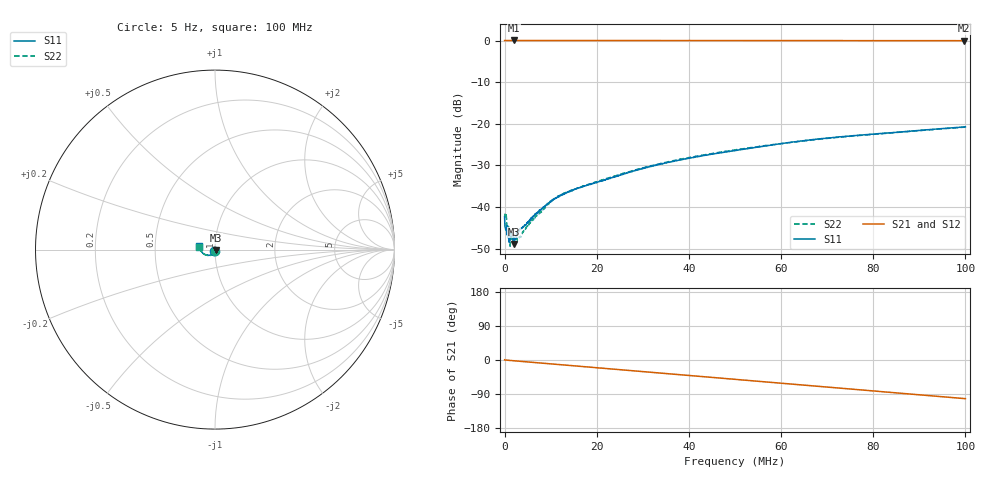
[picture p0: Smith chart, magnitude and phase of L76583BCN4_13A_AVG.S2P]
!Agilent Technologies,E5061B,MY49102235,A.02.00
!Date: Tue Jul 11 17:06:42 2023
!Data & Calibration Information:
!Freq	S11:SOLT2(ON)	S21:SOLT2(ON)	S12:SOLT2(ON)	S22:SOLT2(ON)
# Hz S RI R 50
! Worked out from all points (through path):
!   1600 points, 5 Hz to 100 MHz, reference 50 ohm
!   highest |S21| = 0.02 dB at 2.001 MHz (marker M1); lowest = 0.0 dB at 99.75 MHz (marker M2)
!   group delay of S21, straight-line fit = 2.83 ns
!   lowest |S11| = -48.8 dB at 1.939 MHz (marker M3), VSWR 1.01, Z = 50.3 - j0.19 ohm
!   |S11| at or under -10 dB: start of sweep to end of sweep
!   |S22| runs from -49.4 to -20.8 dB; largest |S21 - S12| = 0.0028
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5  -0.00511 -0.00561  1.002 0.00798  1.001 0.0102  -0.00143 -0.00756
437778.6  0.00519 -0.000507  1.001 -0.00541  1.001 -0.00603  0.00663 -0.00213
625395.8  0.00511 -0.000508  1.002 -0.0106  1.002 -0.0101  0.00611 -0.000845
1000630  0.00372 -0.000558  1.001 -0.0168  1.001 -0.016  0.00509 -0.00148
1500943  0.00431 -0.00217  1.001 -0.0255  1.001 -0.025  0.00297 -0.00334
1938717  0.00308 -0.00189  1.002 -0.0342  1.001 -0.0334  0.00339 -0.00165
2001256  0.00299 -0.00235  1.002 -0.0357  1.001 -0.035  0.00313 -0.00209
2376490  0.00328 -0.00246  1 -0.0422  1 -0.042  0.00394 -0.00212
3252037  0.00422 -0.00345  0.9995 -0.0579  0.9991 -0.0573  0.00314 -0.00295
6003757  0.0034 -0.00652  0.9954 -0.1066  0.9952 -0.1061  0.00298 -0.00634
9505946  0.00174 -0.0109  0.9868 -0.1687  0.9868 -0.1682  0.00115 -0.0109
1.156974e7  0.00041 -0.0133  0.9802 -0.2047  0.9797 -0.2042  -0.000473 -0.0135
1.669794e7  -0.00293 -0.0172  0.9567 -0.2932  0.9565 -0.2926  -0.00331 -0.0173
2.582865e7  -0.00882 -0.0232  0.8969 -0.4442  0.8966 -0.4437  -0.00682 -0.0245
3.333334e7  -0.0161 -0.028  0.8292 -0.5597  0.8292 -0.559  -0.0148 -0.0292
4.033771e7  -0.0238 -0.0309  0.753 -0.6582  0.753 -0.6576  -0.0234 -0.032
5.003127e7  -0.0353 -0.0321  0.6285 -0.7778  0.6285 -0.7772  -0.0355 -0.033
6.672921e7  -0.059 -0.0265  0.3724 -0.9268  0.3729 -0.9266  -0.0582 -0.0265
7.53596e7  -0.0694 -0.0182  0.2262 -0.9723  0.2266 -0.9719  -0.0687 -0.0189
8.33646e7  -0.0774 -0.00757  0.086 -0.9943  0.0861 -0.9941  -0.0767 -0.00944
9.974984e7  -0.0899 0.0185  -0.2035 -0.9755  -0.2031 -0.9755  -0.0895 0.0157
1e8  -0.09 0.0189  -0.2079 -0.9747  -0.2075 -0.9746  -0.0899 0.0163
